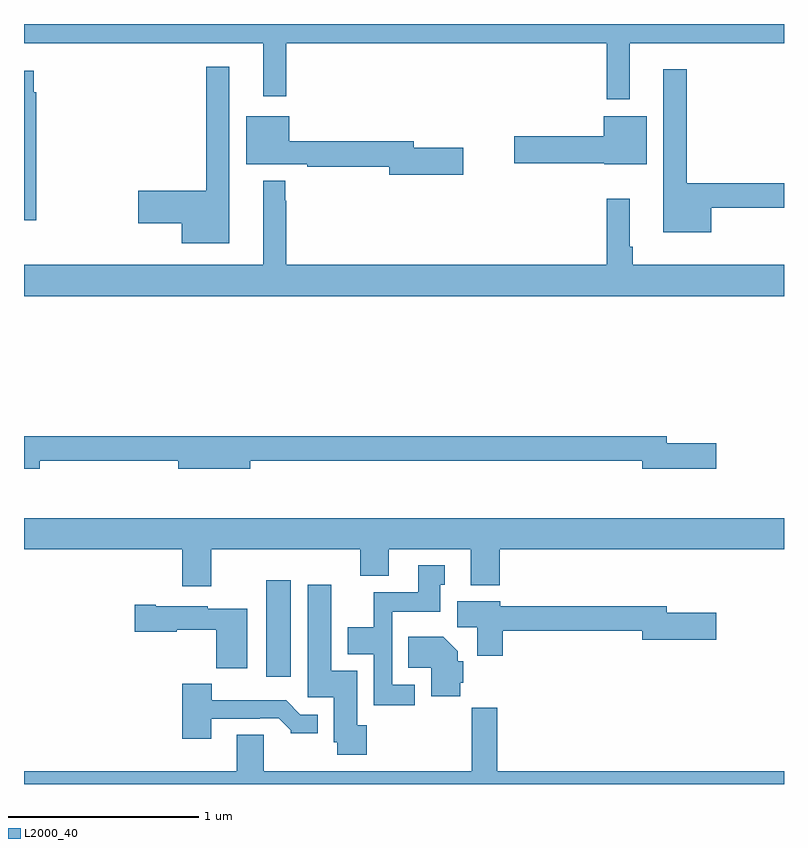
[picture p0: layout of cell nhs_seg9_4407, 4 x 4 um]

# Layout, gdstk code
import gdstk
lib = gdstk.Library(unit=1e-6, precision=1e-09)
def R(c, l, rs):  # rectangles x0, y0, x1, y1
    for r in rs: c.add(gdstk.rectangle(r[:2], r[2:], *l))
def P(c, l, *ps):  # polygons
    for p in ps: c.add(gdstk.Polygon(p, *l))
L2000_40 = (2000, 40)

nhs_seg9_4407 = lib.new_cell('nhs_seg9_4407')
R(nhs_seg9_4407, L2000_40, [(364.274,1213.065,364.405,1213.573)])
P(nhs_seg9_4407, L2000_40, [(366.187,1216.4),(367,1216.4),(367,1216.5),(363,1216.5),(363,1216.4),(364.259,1216.4),(364.259,1216.119),(364.381,1216.119),(364.381,1216.4),(366.066,1216.4),(366.066,1216.104),(366.187,1216.104)],
  [(364.081,1216.276),(363.96,1216.276),(363.96,1215.623),(363.6,1215.623),(363.6,1215.452),(363.83,1215.452),(363.83,1215.347),(364.081,1215.347)],
  [(366.616,1215.534),(367,1215.534),(367,1215.662),(366.487,1215.662),(366.487,1216.261),(366.365,1216.261),(366.365,1215.404),(366.616,1215.404)],
  [(363.065,1216.142),(363.052,1216.142),(363.052,1216.255),(363,1216.255),(363,1215.468),(363.065,1215.468)],
  [(366.277,1216.015),(366.05,1216.015),(366.05,1215.909),(365.58,1215.909),(365.58,1215.767),(366.054,1215.767),(366.054,1215.761),(366.277,1215.761)],
  [(365.311,1215.848),(365.05,1215.848),(365.05,1215.884),(364.396,1215.884),(364.396,1216.015),(364.169,1216.015),(364.169,1215.761),(364.492,1215.761),(364.492,1215.748),(364.922,1215.748),(364.922,1215.706),(365.311,1215.706)],
  [(367,1215.232),(366.205,1215.232),(366.205,1215.328),(366.187,1215.328),(366.187,1215.58),(366.066,1215.58),(366.066,1215.232),(364.381,1215.232),(364.381,1215.569),(364.374,1215.569),(364.374,1215.676),(364.259,1215.676),(364.259,1215.232),(363,1215.232),(363,1215.068),(367,1215.068)],
  [(363.082,1214.202),(363.812,1214.202),(363.812,1214.159),(364.192,1214.159),(364.192,1214.202),(366.254,1214.202),(366.254,1214.159),(366.643,1214.159),(366.643,1214.294),(366.382,1214.294),(366.382,1214.33),(363,1214.33),(363,1214.159),(363.082,1214.159)],
  [(363.985,1213.736),(364.769,1213.736),(364.769,1213.595),(364.921,1213.595),(364.921,1213.736),(365.351,1213.736),(365.351,1213.547),(365.504,1213.547),(365.504,1213.736),(367,1213.736),(367,1213.9),(363,1213.9),(363,1213.736),(363.833,1213.736),(363.833,1213.542),(363.985,1213.542)],
  [(365.056,1213.023),(364.938,1213.023),(364.938,1213.406),(365.191,1213.406),(365.191,1213.548),(365.215,1213.548),(365.215,1213.651),(365.075,1213.651),(365.075,1213.51),(364.84,1213.51),(364.84,1213.324),(364.703,1213.324),(364.703,1213.184),(364.842,1213.184),(364.842,1212.915),(365.056,1212.915)],
  [(364.805,1212.81),(364.753,1212.81),(364.753,1213.096),(364.618,1213.096),(364.618,1213.549),(364.493,1213.549),(364.493,1212.957),(364.631,1212.957),(364.631,1212.72),(364.648,1212.72),(364.648,1212.654),(364.805,1212.654)],
  [(365.519,1213.306),(366.254,1213.306),(366.254,1213.259),(366.643,1213.259),(366.643,1213.401),(366.382,1213.401),(366.382,1213.435),(365.506,1213.435),(365.506,1213.462),(365.279,1213.462),(365.279,1213.324),(365.386,1213.324),(365.386,1213.176),(365.519,1213.176)],
  [(364.174,1213.423),(363.966,1213.423),(363.966,1213.435),(363.694,1213.435),(363.694,1213.443),(363.582,1213.443),(363.582,1213.301),(363.804,1213.301),(363.804,1213.313),(364.012,1213.313),(364.012,1213.109),(364.174,1213.109)],
  [(365.297,1213.032),(365.311,1213.032),(365.311,1213.146),(365.284,1213.146),(365.284,1213.198),(365.206,1213.276),(365.023,1213.276),(365.023,1213.112),(365.144,1213.112),(365.144,1212.962),(365.297,1212.962)],
  [(363.985,1212.843),(364.241,1212.843),(364.241,1212.846),(364.34,1212.846),(364.404,1212.782),(364.404,1212.767),(364.546,1212.767),(364.546,1212.864),(364.455,1212.864),(364.379,1212.94),(363.988,1212.94),(363.988,1213.027),(363.833,1213.027),(363.833,1212.738),(363.985,1212.738)],
  [(367,1212.568),(365.492,1212.568),(365.492,1212.901),(365.356,1212.901),(365.356,1212.568),(364.261,1212.568),(364.261,1212.758),(364.121,1212.758),(364.121,1212.568),(363,1212.568),(363,1212.5),(367,1212.5)])

lib.write_gds('nhs_seg9_4407.gds')
